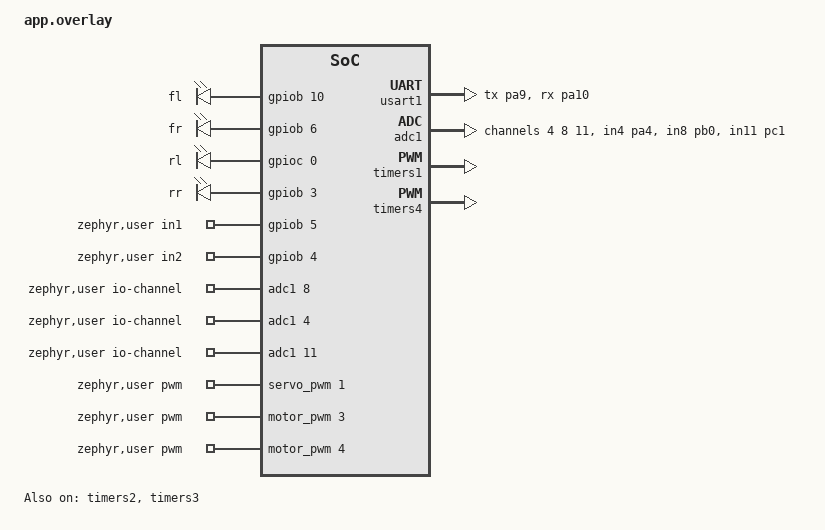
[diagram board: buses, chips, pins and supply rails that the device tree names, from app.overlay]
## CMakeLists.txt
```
cmake_minimum_required(VERSION 3.20.0)
find_package(Zephyr REQUIRED HINTS $ENV{ZEPHYR_BASE})
project(lab2)

target_sources(app PRIVATE src/main.c src/blinker.c src/encoder.c src/servo.c src/motor.c src/current.c)
```

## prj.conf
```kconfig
CONFIG_GPIO=y
CONFIG_PRINTK=y
CONFIG_SENSOR=y
CONFIG_PWM=y
CONFIG_FPU=y
CONFIG_ADC=y
```

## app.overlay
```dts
/ {
	blinkers {
		compatible = "gpio-leds";
		fl: fl { gpios = <&gpiob 10 GPIO_ACTIVE_HIGH>; };  /* D6 */
		fr: fr { gpios = <&gpiob 6 GPIO_ACTIVE_HIGH>; };   /* D10 */
		rl: rl { gpios = <&gpioc 0 GPIO_ACTIVE_HIGH>; };   /* A5 */
		rr: rr { gpios = <&gpiob 3 GPIO_ACTIVE_HIGH>; };   /* D3 */
	};
};

/* the board file enables these on pins we use for other things */
&spi1 { status = "disabled"; };   /* PA5-7 + cs on PB6 */
&i2c1 { status = "disabled"; };   /* PB8/PB9, needed for motor pwm */
&i2c3 { status = "disabled"; };   /* PA8, needed for servo */
&pwm2 { status = "disabled"; };   /* tim2 is the left encoder now */

/* move usart1 off PB6/PB7 to D8/D2 for the pi link */
&usart1 {
	pinctrl-0 = <&usart1_tx_pa9 &usart1_rx_pa10>;
};

/* board puts adc1 on PA0, which is now an encoder pin. these are the
 * three current sensor pins: A2, A3, A4 */
&adc1 {
	pinctrl-0 = <&adc1_in4_pa4 &adc1_in8_pb0 &adc1_in11_pc1>;
};

/* left encoder: A0/A1 */
&timers2 {
	status = "okay";

	enc_left: qdec {
		pinctrl-0 = <&tim2_ch1_pa0 &tim2_ch2_pa1>;
		pinctrl-names = "default";
		st,encoder-mode = <0x3>;           /* count every edge on both phases */
		st,input-filter-level = <10>;      /* ignore short glitches from motor noise */
		st,counts-per-revolution = <1>;    /* required, but we only read raw counts */
		status = "okay";
	};
};

/* right encoder: D12/D11 */
&timers3 {
	status = "okay";

	enc_right: qdec {
		pinctrl-0 = <&tim3_ch1_pa6 &tim3_ch2_pa7>;
		pinctrl-names = "default";
		st,encoder-mode = <0x3>;
		st,input-filter-level = <10>;
		st,counts-per-revolution = <1>;
		status = "okay";
	};
};

/* in case the encoder outputs are open-collector */
&tim2_ch1_pa0 { bias-pull-up; };
&tim2_ch2_pa1 { bias-pull-up; };
&tim3_ch1_pa6 { bias-pull-up; };
&tim3_ch2_pa7 { bias-pull-up; };

/* servo on D7. prescaler makes the timer count at 1 MHz so a 20 ms period fits in its 16-bit counter */
&timers1 {
	status = "okay";
	st,prescaler = <83>;

	servo_pwm: pwm {
		pinctrl-0 = <&tim1_ch1_pa8>;
		pinctrl-names = "default";
		status = "okay";
	};
};

/ {
	zephyr,user {
		/* 0: servo, 1: left motor (ENA), 2: right motor (ENB) */
		pwms = <&servo_pwm 1 PWM_MSEC(20) PWM_POLARITY_NORMAL>,
		       <&motor_pwm 3 PWM_USEC(100) PWM_POLARITY_NORMAL>,
		       <&motor_pwm 4 PWM_USEC(100) PWM_POLARITY_NORMAL>;
		in1-gpios = <&gpiob 5 GPIO_ACTIVE_HIGH>;   /* D4, also drives IN3 */
		in2-gpios = <&gpiob 4 GPIO_ACTIVE_HIGH>;   /* D5, also drives IN4 */
		/* 0: left motor (A3), 1: right motor (A2), 2: servo (A4) */
		io-channels = <&adc1 8>, <&adc1 4>, <&adc1 11>;
	};
};

/* motor pwm on D15 (ENA) and D14 (ENB), same timer so both share a frequency */
&timers4 {
	status = "okay";

	motor_pwm: pwm {
		pinctrl-0 = <&tim4_ch3_pb8 &tim4_ch4_pb9>;
		pinctrl-names = "default";
		status = "okay";
	};
};

/* current sensors: A3 = left motor, A2 = right motor, A4 = servo */
&adc1 {
	pinctrl-0 = <&adc1_in4_pa4 &adc1_in8_pb0 &adc1_in11_pc1>;
	#address-cells = <1>;
	#size-cells = <0>;

	channel@4 {
		reg = <4>;
		zephyr,gain = "ADC_GAIN_1";
		zephyr,reference = "ADC_REF_INTERNAL";
		zephyr,acquisition-time = <ADC_ACQ_TIME(ADC_ACQ_TIME_TICKS, 144)>;
		zephyr,resolution = <12>;
	};

	channel@8 {
		reg = <8>;
		zephyr,gain = "ADC_GAIN_1";
		zephyr,reference = "ADC_REF_INTERNAL";
		zephyr,acquisition-time = <ADC_ACQ_TIME(ADC_ACQ_TIME_TICKS, 144)>;
		zephyr,resolution = <12>;
	};

	channel@b {
		reg = <11>;
		zephyr,gain = "ADC_GAIN_1";
		zephyr,reference = "ADC_REF_INTERNAL";
		zephyr,acquisition-time = <ADC_ACQ_TIME(ADC_ACQ_TIME_TICKS, 144)>;
		zephyr,resolution = <12>;
	};
};

/* built-in adc sensors from the board file, not used and they share adc1 */
&die_temp { status = "disabled"; };
&vref { status = "disabled"; };
&vbat { status = "disabled"; };
```

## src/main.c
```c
/*
 * lab 2 bench test: drives every subsystem from the keyboard over the
 * st-link serial port (115200 baud). once the pi link exists, the command
 * parser calls these same functions instead of the key handler below.
 *
 * modules and what to call:
 *   blinker.h  blinker_init(), blinker_left(), blinker_right(),
 *              blinker_hazard(on), blinker_steer(wheel_deg)
 *   servo.h    servo_init(), servo_set_angle(wheel_deg),
 *              servo_set_us(us)  (always clamped to the linkage limits)
 *   motor.h    motor_init(), motor_forward(), motor_reverse(),
 *              motor_duty(left_pct, right_pct), motor_brake(), motor_coast()
 *   encoder.h  encoder_init(), encoder_rpm(period_ms, &left, &right)
 *              (call at a fixed period; forward is positive on both wheels)
 *   current.h  current_init(), current_read_ma(ma[CUR_COUNT])
 *              (zero is measured at boot, so reset with everything stopped)
 *
 * wheel angle is 0-900 deg: 0 = full left, 450 = center, 900 = full right
 * (lab 1 team-defined values). blinker self-cancel uses the same units.
 */

#include <zephyr/kernel.h>
#include <zephyr/drivers/uart.h>
#include "blinker.h"
#include "servo.h"
#include "motor.h"
#include "encoder.h"
#include "current.h"

#define CONTROL_PERIOD_MS 10
/* status line every 200 ms, header every 20 lines so columns stay labeled */
#define PRINT_EVERY 20
#define HEADER_EVERY 20

#define WHEEL_CENTER 450
#define WHEEL_STEP 50

K_TIMER_DEFINE(control_timer, NULL, NULL);

static void print_help(void)
{
	printk("\nmotor:   f fwd  b rev  w/s duty +/-10%%  space brake  x coast\n");
	printk("steer:   a/d wheel -/+50 deg  c center\n");
	printk("blinker: q left  e right  h hazard on/off\n");
	printk("other:   ? help\n\n");
}

static void print_header(void)
{
	printk("%5s %3s | %6s %6s | %6s %6s %6s | %5s %6s\n",
	       "duty", "dir", "rpmL", "rpmR", "mA_L", "mA_R", "mA_S", "wheel", "srv_us");
}

int main(void)
{
	const struct device *con = DEVICE_DT_GET(DT_CHOSEN(zephyr_console));
	uint32_t duty = 0;
	char dir = '-';   /* F fwd, R rev, B brake, - coast */
	int wheel = WHEEL_CENTER;
	uint32_t us;
	bool hazard = false;
	unsigned char c;
	int n = 0, lines = 0;

	printk("boot\n");

	/* current zero is measured here, so motors must be coasting and the
	 * servo not yet driven */
	if (encoder_init() || motor_init() || current_init() || servo_init()) {
		printk("init failed\n");
		return 0;
	}
	blinker_init();
	us = servo_set_angle(wheel);

	print_help();
	k_timer_start(&control_timer, K_MSEC(CONTROL_PERIOD_MS), K_MSEC(CONTROL_PERIOD_MS));

	while (1) {
		k_timer_status_sync(&control_timer);

		if (uart_poll_in(con, &c) == 0) {
			switch (c) {
			case 'f':
				dir = 'F';
				motor_forward();
				motor_duty(duty, duty);
				break;
			case 'b':
				dir = 'R';
				motor_reverse();
				motor_duty(duty, duty);
				break;
			case 'w':
			case 's':
				duty = (c == 'w') ? MIN(duty + 10, 100) : (duty >= 10 ? duty - 10 : 0);
				/* only drive if a direction is set, so w/s can't undo a brake */
				if (dir == 'F' || dir == 'R') {
					motor_duty(duty, duty);
				}
				break;
			case ' ':
				dir = 'B';
				motor_brake();
				break;
			case 'x':
				dir = '-';
				motor_coast();
				break;
			case 'a':
			case 'd':
				wheel = CLAMP(wheel + (c == 'd' ? WHEEL_STEP : -WHEEL_STEP), 0, 900);
				us = servo_set_angle(wheel);
				blinker_steer(wheel);
				break;
			case 'c':
				wheel = WHEEL_CENTER;
				us = servo_set_angle(wheel);
				blinker_steer(wheel);
				break;
			case 'q':
				blinker_left();
				printk("> blinker left\n");
				break;
			case 'e':
				blinker_right();
				printk("> blinker right\n");
				break;
			case 'h':
				hazard = !hazard;
				blinker_hazard(hazard);
				printk("> hazard %s\n", hazard ? "on" : "off");
				break;
			case '?':
				print_help();
				lines = 0;
				break;
			}
		}

		int l, r;
		encoder_rpm(CONTROL_PERIOD_MS, &l, &r);

		/* only read currents when printing, to keep the loop light */
		if (++n % PRINT_EVERY == 0) {
			int ma[CUR_COUNT];

			current_read_ma(ma);
			if (lines++ % HEADER_EVERY == 0) {
				print_header();
			}
			printk("%4u%% %3c | %6d %6d | %6d %6d %6d | %5d %6u\n",
			       duty, dir, l, r, ma[CUR_LEFT], ma[CUR_RIGHT], ma[CUR_SERVO], wheel, us);
		}
	}
}
```

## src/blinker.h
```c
#pragma once
#include <stdbool.h>

void blinker_init(void);
void blinker_left(void);
void blinker_right(void);
void blinker_hazard(bool on);
void blinker_steer(int steer);
```

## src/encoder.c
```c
#include <zephyr/kernel.h>
#include <zephyr/device.h>
#include <zephyr/drivers/sensor.h>
#include "encoder.h"

#define COUNTS_PER_REV 1320
/* tim3 is 16-bit and the driver wraps it from 65534 back to 0 */
#define RIGHT_WRAP 65535

static const struct device *enc_l = DEVICE_DT_GET(DT_NODELABEL(enc_left));
static const struct device *enc_r = DEVICE_DT_GET(DT_NODELABEL(enc_right));

static uint32_t prev_l, prev_r;

static uint32_t read_count(const struct device *dev)
{
	struct sensor_value v;

	sensor_sample_fetch(dev);
	sensor_channel_get(dev, SENSOR_CHAN_ENCODER_COUNT, &v);
	return (uint32_t)v.val1;
}

int encoder_init(void)
{
	if (!device_is_ready(enc_l) || !device_is_ready(enc_r)) {
		return -ENODEV;
	}
	prev_l = read_count(enc_l);
	prev_r = read_count(enc_r);
	return 0;
}

static int to_rpm(int32_t delta, int period_ms)
{
	return delta * 60000 / (COUNTS_PER_REV * period_ms);
}

/* call at a fixed period; returns rpm since the last call */
void encoder_rpm(int period_ms, int *left, int *right)
{
	uint32_t l = read_count(enc_l);
	uint32_t r = read_count(enc_r);

	/* tim2 is 32-bit, so unsigned subtraction handles the wrap */
	int32_t dl = (int32_t)(l - prev_l);

	/* tim3 wraps at 16 bits, so take the short way around */
	int32_t dr = (int32_t)r - (int32_t)prev_r;
	if (dr > RIGHT_WRAP / 2) {
		dr -= RIGHT_WRAP;
	} else if (dr < -RIGHT_WRAP / 2) {
		dr += RIGHT_WRAP;
	}

	prev_l = l;
	prev_r = r;

	*left = to_rpm(dl, period_ms);
	/* right motor is mirrored, so forward counts down */
	*right = -to_rpm(dr, period_ms);
}
```

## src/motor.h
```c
#pragma once
#include <stdint.h>

int motor_init(void);
void motor_forward(void);
void motor_reverse(void);
void motor_duty(uint32_t left_pct, uint32_t right_pct);
void motor_brake(void);
void motor_coast(void);
```
